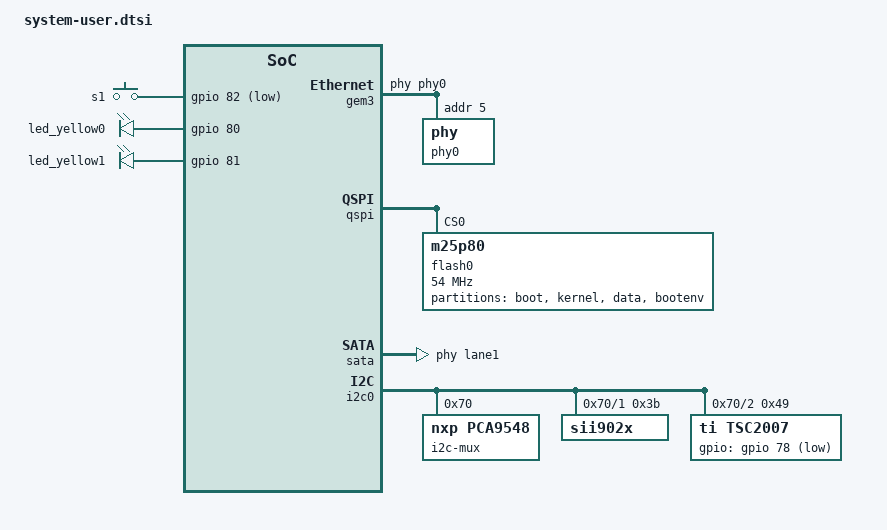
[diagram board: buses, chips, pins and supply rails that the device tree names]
/include/ "system-conf.dtsi"
/ {
	chosen {
		bootargs = "console=ttyPS0,115200 earlyprintk root=/dev/mmcblk1p2 rw rootwait clk_ignore_unused";
		stdout-path = "serial0:115200n8";
	};

	gpio-keys {
                compatible = "gpio-keys";
                autorepeat;
                sw19 {
                        label = "s1";
                        gpios = <&gpio 82 1>;
                        linux,code = <108>;
                        gpio-key,wakeup;
                        autorepeat;
                };
        };

        leds {
                compatible = "gpio-leds";
                led0 {
                        label = "led_yellow0";
                        gpios = <&gpio 80 0>;
                        linux,default-trigger = "gpio";
                };
                led1 {
                        label = "led_yellow1";
                        gpios = <&gpio 81 0>;
                        linux,default-trigger = "gpio";
                };
        };

        watchdog {
                compatible = "gpio-watchdog";
        };
};

&gem0 {
	status = "disable";
};

&gem1 {
	status = "disable";
};

&gem2 {
	status = "disable";
};

&gem3 {
        phy-handle = <&phy0>;
	phy0: phy@21 {
                reg = <5>;
                ti,rx-internal-delay = <0x8>;
                ti,tx-internal-delay = <0xa>;
                ti,fifo-depth = <0x1>;
                ti,dp83867-rxctrl-strap-quirk;
        };

};

&sdhci0 {
        no-1-8-v;
};

&sdhci1 {
        no-1-8-v;
};

&qspi {
        #address-cells = <1>;
        #size-cells = <0>;
        flash0: flash@0 {
		compatible = "m25p80";
		reg = <0x0>;
		#address-cells = <1>;
                #size-cells = <1>;
                spi-tx-bus-width=<1>;
                spi-rx-bus-width=<4>;
                spi-max-frequency = <54000000>;
                partition@0 {
                        label = "boot";
                        reg = <0x00000000 0x00a00000>;
                };
                partition@1 {
                        label = "kernel";
                        reg = <0x00a00000 0x01400000>;
                };
                partition@2 {
                        label = "data";
                        reg = <0x01e00000 0x00160000>;
                };
		partition@3 {
			label = "bootenv";
			reg = <0x01f60000 0x00040000>;
		};
        };
};

&sata {
        phy-names = "sata-phy";
        phys = <&lane1 1 1 1 125000000>;
};

&i2c0 {
        i2c-mux@70 {
                compatible = "nxp,pca9548";
                #address-cells = <1>;
                #size-cells = <0>;
                reg = <0x70>;
                i2c@0 {
                        #address-cells = <1>;
                        #size-cells = <0>;
                        reg = <0>;
                };
                i2c@1 {
                        #address-cells = <1>;
                        #size-cells = <0>;
                        reg = <1>;

                        sii902x@3b {
                                compatible = "sii902x";
                                reg = <0x3b>;
                                interrupt-parent = <&gic>;
                                interrupts = <0x0 89 0x4>;
                                mode_str = "1920x1080";
                                bits-per-pixel = <0x10>;
                        };
                };
                i2c@2 {
                        #address-cells = <1>;
                        #size-cells = <0>;
                        reg = <2>;

                        /*
                        ft0x5x_ts@38 {
                                compatible = "ft5x06_ts";
                                reg = <0x38>;
                                tp_int = <&gpio 78 1>;
                                polling_mode = <0x0 0x0>;
                                multi_touch = <0x0 0x0>;
                        };
                        */

                        tsc2007@49 {
                                compatible = "ti,tsc2007";
                                reg = <0x49>;
                                //interrupt-parent = <&gic>;
                                //interrupts = <0x0 89 0x4>;
                                ti,x-plate-ohms = <0x28f>;
                                ti,poll-period = <0x0 0x1e>;
                                gpios = <&gpio 78 1>;
                        };
                };
        };
};

&amba_pl {
	axi_vdma_vga: axi_vdma_vga@a0010000 {
		compatible = "myir,vdma-fb";
		dmas = <&axi_vdma_0 0>;
		dma-names = "axivdma";
		// reg = <0xa0010000 0x10000>;
		reg = <0x0 0xa0001000 0x0 0x1000>;
		fmr,clk-baseaddr = <0xa0010000>;
		fmr,clk-size = <0x1000>;
		fmr,vtc-baseaddr = <0xa0020000>; 
		fmr,vtc-size = <0x10000>; 
		fmr,display-color-space = <0x0>; 	//RGB
		fmr,display-interface = <0x0>;
		active-layer = <0>;
		//videomode = "1920x1080";
		videomode = "800x480_LCDV2";

		fmr-video-params {
			640x480_LCD1{
				name = "640x480_LCD1";
				refresh = <60>;
				xres = <640>;
				yres = <480>;
				pixclock-khz = <25000>;
				left-margin = <16>;
				right-margin = <48>;
				upper-margin = <10>;
				lower-margin = <33>;
				hsync-len = <96>;
				vsync-len = <2>;
				sync = <0>;
				vmode = <0>;

				dynclk-clk0L = <0x0104>;
				dynclk-clkFBL = <0x0145>;
				dynclk-clkFBH_clk0H = <0>;
				dynclk-divclk = <0x1041>;
				dynclk-lockL = <0x3E8FA401>;
				dynclk-fltr_lockH = <0x4B00E7>;
			};
			480x272_LCDV1{
				name = "480x272_LCDV1";
				refresh = <60>;
				xres = <480>;
				yres = <272>;
				pixclock-khz = <10000>;
				left-margin = <40>;
				right-margin = <40>;
				upper-margin = <29>;
				lower-margin = <13>;
				hsync-len = <48>;
				vsync-len = <3>;
				sync = <0>;
				vmode = <0>;

				dynclk-clk0L = <0x0186>;
				dynclk-clkFBL = <0x00C3>;
				dynclk-clkFBH_clk0H = <0>;
				dynclk-divclk = <0x1041>;
				dynclk-lockL = <0x7E8FA401>;
				dynclk-fltr_lockH = <0x73008C>;
			};
			800x480_LCDV2 {
				name = "800x480_LCDV2";
				refresh = <60>;
				xres = <800>;
				yres = <480>;
				pixclock-khz = <33330>;
				left-margin = <210>;
				right-margin = <44>;
				upper-margin = <22>;
				lower-margin = <21>;
				hsync-len = <2>;
				vsync-len = <2>;
				sync = <0>;
				vmode = <0>;

				dynclk-clk0L = <0x8000C4>;
				dynclk-clkFBL = <0x800452>;
				dynclk-clkFBH_clk0H = <0>;
				dynclk-divclk = <0x2042>;
				dynclk-lockL = <0xD13FA401>;
				dynclk-fltr_lockH = <0x6300FF>;
			};
			1024x600 {
				name = "1024x600";
				refresh = <60>;
				xres = <1024>;
				yres = <600>;
				pixclock-khz = <51200>;
				left-margin = <160>;//H Front Porch
				right-margin = <140>;//H Back Porch
				upper-margin = <12>;//V Back Porch
				lower-margin = <20>;//V Front Porch
				hsync-len = <20>;//H Sync Time
				vsync-len = <3>;//V Sync Time
				sync = <0>;
				vmode = <0>;
			};	
			1024x768 {
				name = "1024x768";
				refresh = <60>;
				xres = <1024>;
				yres = <768>;
				pixclock-khz = <65000>;
				left-margin = <24>;//H Front Porch
				right-margin = <160>;//H Back Porch
				upper-margin = <29>;//V Back Porch
				lower-margin = <3>;//V Front Porch
				hsync-len = <136>;//H Sync Time
				vsync-len = <6>;//V Sync Time
				sync = <0>;
				vmode = <0>;

				dynclk-clk0L = <0x0041>;
				dynclk-clkFBL = <0x800187>;
				dynclk-clkFBH_clk0H = <0>;
				dynclk-divclk = <0x0041>;
				dynclk-lockL = <0xEEEFA401>;
				dynclk-fltr_lockH = <0xB300FF>;
			};
			1280x720 {
				name = "1280x720";
				refresh = <60>;
				xres = <1280>;
				yres = <720>;
				pixclock-khz = <74250>;
				left-margin = <220>;
				right-margin = <110>;
				upper-margin = <20>;
				lower-margin = <5>;
				hsync-len = <40>;
				vsync-len = <5>;
				sync = <1>;
				vmode = <0>;

				dynclk-clk0L = <0x0041>;
				dynclk-clkFBL = <0x069A>;
				dynclk-clkFBH_clk0H = <0>;
				dynclk-divclk = <0x20C4>;
				dynclk-lockL = <0xCFAFA401>;
				dynclk-fltr_lockH = <0xA300FF>;
			};
			1680x1050 {
				name = "1680x1050";
				refresh = <60>;
				xres = <1680>;
				yres = <1050>;
				pixclock-khz = <119000>;
				left-margin = <80>;
				right-margin = <48>;
				upper-margin = <21>;
				lower-margin = <3>;
				hsync-len = <32>;
				vsync-len = <6>;
				sync = <0>;
				vmode = <0>;

				dynclk-clk0L = <0x400041>;
				dynclk-clkFBL = <0x00C3>;
				dynclk-clkFBH_clk0H = <0>;
				dynclk-divclk = <0x1041>;
				dynclk-lockL = <0x7E8FA401>;
				dynclk-fltr_lockH = <0x73008C>;
			};
			1920x1080 {
				name = "1920x1080";
				refresh = <60>;
				xres = <1920>;
				yres = <1080>;
				pixclock-khz = <148500>;
				left-margin = <88>;	//H Front Porch
				right-margin = <148>;	//H Back Porch
				upper-margin = <36>;	//V Back Porch
				lower-margin = <4>;	//V Front Porch
				hsync-len = <44>;	//H Sync Time
				vsync-len = <5>;	//V Sync Time
				sync = <0>;
				vmode = <0>;

				dynclk-clk0L = <0x400041>;
				dynclk-clkFBL = <0x069A>;
				dynclk-clkFBH_clk0H = <0>;
				dynclk-divclk = <0x20C4>;
				dynclk-lockL = <0xCFAFA401>;
				dynclk-fltr_lockH = <0xA300FF>;
			};
		};
	};
};
